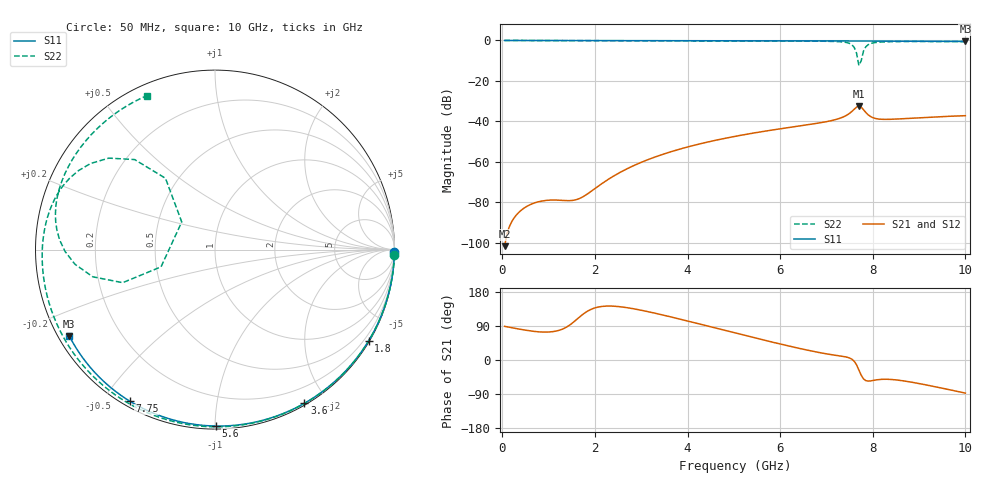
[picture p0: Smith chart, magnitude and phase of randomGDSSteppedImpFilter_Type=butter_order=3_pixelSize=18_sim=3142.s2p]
! freq	dB(S11)	phase(S11)	dB(S12)	phase(S12)
!  dB(S21)	phase(S21)	dB(S22)	phase(S22)
!S-par simulation data
#  GHz  S  DB  R 50
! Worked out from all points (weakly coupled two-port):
!   200 points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, 50 MHz to 10 GHz, reference 50 ohm
!   highest |S21| = -32.43 dB at 7.7 GHz (marker M1); lowest = -101.6 dB at 50 MHz (marker M2)
!   lowest |S11| = -0.5 dB at 10 GHz (marker M3), VSWR 34.58, Z = 1.55 - j13.7 ohm
!   |S11| at or under -10 dB: nowhere
!   |S22| runs from -12.4 to 0.0 dB; largest |S21 - S12| = 0
!   S11 on the Smith chart (normalised r, x): 50 MHz: open; 1.8 GHz: 0.03, -3.65; 3.6 GHz: 0.02, -1.74; 5.6 GHz: 0.02, -1.00; 7.75 GHz: 0.02, -0.58; 10 GHz: 0.03, -0.27
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0.05  -0.00 -0.9  -101.60 88.8  -101.60 88.8  -0.00 -1.6
0.85  -0.02 -14.6  -79.32 73.8  -79.32 73.8  -0.03 -27.1
1.75  -0.04 -29.8  -77.10 121.4  -77.10 121.4  -0.07 -54.6
1.8  -0.04 -30.7  -76.39 125.7  -76.39 125.7  -0.07 -56.1
2.55  -0.06 -43.0  -65.08 140.5  -65.08 140.5  -0.09 -77.5
3.4  -0.08 -56.7  -56.75 120.6  -56.75 120.6  -0.12 -100.2
3.6  -0.08 -59.8  -55.26 114.9  -55.26 114.9  -0.13 -105.2
5.05  -0.13 -81.8  -47.26 70.7  -47.26 70.7  -0.19 -140.1
5.6  -0.15 -89.7  -45.07 54.0  -45.07 54.0  -0.23 -152.8
6.7  -0.20 -105.2  -41.27 23.2  -41.27 23.2  -0.33 -179.4
7.25  -0.24 -112.7  -38.73 11.4  -38.73 11.4  -0.57 162.4
7.5  -0.26 -116.1  -35.97 5.2  -35.97 5.2  -1.48 145.3
7.6  -0.27 -117.4  -33.96 -3.5  -33.96 -3.5  -3.45 131.7
7.65  -0.27 -118.1  -32.93 -12.7  -32.93 -12.7  -6.31 124.8
7.7  -0.27 -118.7  -32.43 -26.1  -32.43 -26.1  -12.36 140.3
7.75  -0.27 -119.4  -32.94 -40.1  -32.94 -40.1  -10.02 -162.3
7.8  -0.28 -120.1  -34.20 -49.8  -34.20 -49.8  -5.25 -160.3
7.85  -0.28 -120.8  -35.58 -54.4  -35.58 -54.4  -3.13 -167.4
7.95  -0.29 -122.1  -37.55 -55.2  -37.55 -55.2  -1.56 -179.3
8.35  -0.33 -127.4  -38.96 -51.0  -38.96 -51.0  -0.63 159.1
9.1  -0.40 -137.4  -38.06 -64.5  -38.06 -64.5  -0.53 137.2
10  -0.50 -149.3  -37.15 -87.4  -37.15 -87.4  -0.56 113.8
